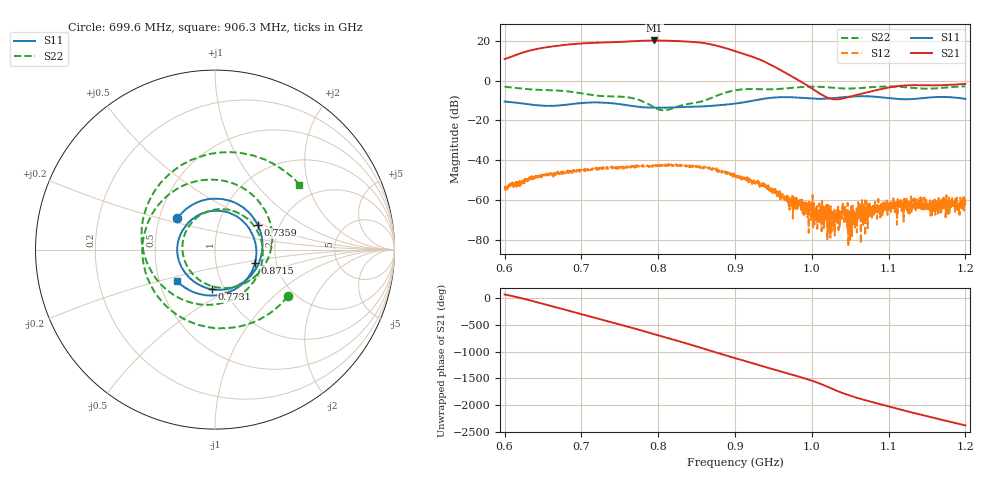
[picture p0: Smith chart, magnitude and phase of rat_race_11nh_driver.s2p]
# Hz S DB R 50
! CMT, M5065, 19127446, 23.4.5/2
! Date: 25/9/2024 15:48:48
! Data: Format (Calibration Info)
! Freq	S11:dB/Ang(--)	S21:dB/Ang(--)	S12:dB/Ang(--)	S22:dB/Ang(--)
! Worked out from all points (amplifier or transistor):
!   2001 points, 600 MHz to 1.2 GHz, reference 50 ohm
!   highest |S21| = 20.2 dB at 795 MHz (marker M1)
!   |S21| within 3 dB of that: 661.9 MHz to 880 MHz (218.1 MHz wide, 28.3 % of centre)
!   unconditionally stable (mu >= 1): start of sweep to end of sweep
!   at 699.9 MHz: K = 7.40, MAG = 20.1 dB, |S12| = -44.9 dB
!   at 900 MHz: K = 14.99, MAG = 16.8 dB, |S12| = -48.4 dB
!   at 1.2 GHz: K = 334.98, MAG = 2.1 dB, |S12| = -62.3 dB
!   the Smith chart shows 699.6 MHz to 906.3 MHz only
!   S11 on the Smith chart (normalised r, x): 699.6 MHz: 0.62, +0.23; 735.9 MHz: 1.54, +0.46; 773.1 MHz: 0.88, -0.41; 871.5 MHz: 1.55, -0.24; 906.3 MHz: 0.62, -0.23
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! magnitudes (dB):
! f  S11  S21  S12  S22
! 600 MHz  -10.5  10.9  -54.8  -3.1
! 641.1 MHz  -12.3  15.8  -48.8  -4.5
! 699.6 MHz  -11.3  18.7  -44.9  -6.4
! 700.2 MHz  -11.3  18.7  -44.8  -6.4
! 735.9 MHz  -11.2  19.3  -44.0  -7.9
! 773.1 MHz  -13.1  19.9  -43.1  -9.5
! 795 MHz  -13.5  20.2  -42.8  -13.4
! 800.1 MHz  -13.6  20.1  -42.4  -14.3
! 871.5 MHz  -12.6  18.0  -44.0  -8.3
! 900 MHz  -11.5  14.9  -48.4  -4.9
! 906.3 MHz  -11.2  14.1  -48.9  -4.5
! 936.9 MHz  -9.1  9.8  -52.1  -4.3
! 993 MHz  -8.8  -2.2  -65.9  -3.1
! 1 GHz  -9.0  -3.9  -64.7  -3.0
! 1.006 GHz  -9.1  -5.5  -62.0  -3.1
! 1.026 GHz  -8.9  -9.2  -75.7  -3.5
! 1.043 GHz  -8.3  -8.8  -67.6  -3.9
! 1.049 GHz  -8.0  -8.1  -72.3  -4.0
! 1.063 GHz  -7.8  -6.8  -65.7  -3.8
! 1.069 GHz  -7.8  -6.2  -65.4  -3.6
! 1.1 GHz  -8.8  -3.5  -64.4  -2.9
! 1.2 GHz  -9.2  -1.6  -62.3  -2.9
